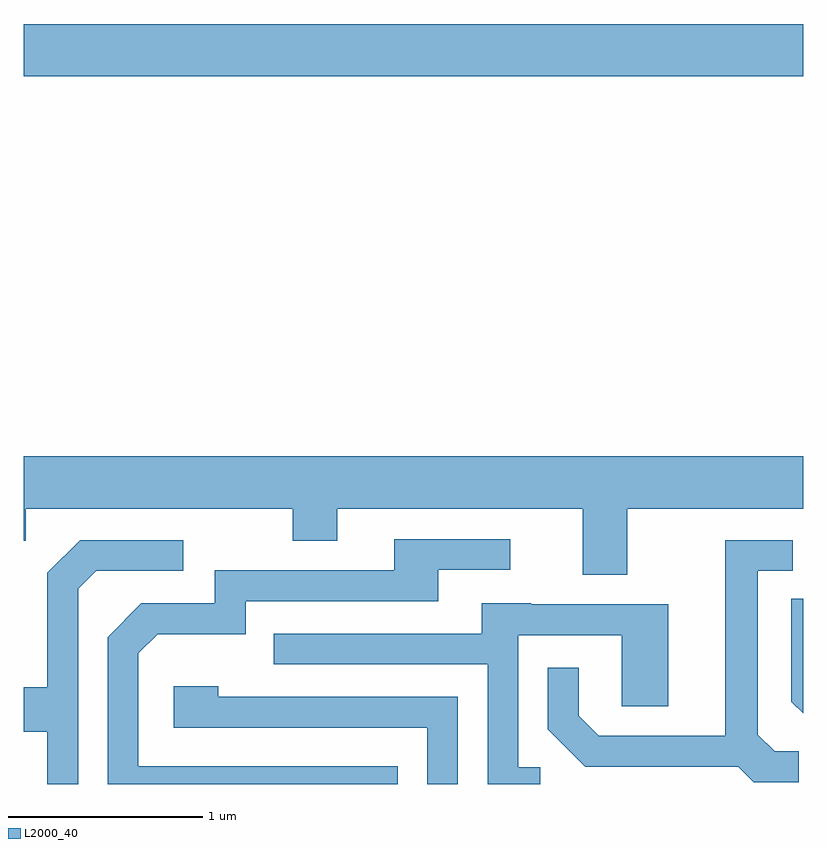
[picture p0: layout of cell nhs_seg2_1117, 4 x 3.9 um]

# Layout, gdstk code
import gdstk
lib = gdstk.Library(unit=1e-6, precision=1e-09)
def R(c, l, rs):  # rectangles x0, y0, x1, y1
    for r in rs: c.add(gdstk.rectangle(r[:2], r[2:], *l))
def P(c, l, *ps):  # polygons
    for p in ps: c.add(gdstk.Polygon(p, *l))
L2000_40 = (2000, 40)

nhs_seg2_1117 = lib.new_cell('nhs_seg2_1117')
R(nhs_seg2_1117, L2000_40, [(217.611,1039.436,221.611,1039.704)])
P(nhs_seg2_1117, L2000_40, [(220.709,1037.216),(221.611,1037.216),(221.611,1037.484),(217.611,1037.484),(217.611,1037.051),(217.619,1037.051),(217.619,1037.216),(218.991,1037.216),(218.991,1037.051),(219.219,1037.051),(219.219,1037.216),(220.481,1037.216),(220.481,1036.876),(220.709,1036.876)],
  [(219.529,1035.894),(218.199,1035.894),(218.199,1036.474),(218.297,1036.571),(218.749,1036.571),(218.749,1036.741),(219.739,1036.741),(219.739,1036.901),(220.108,1036.901),(220.108,1037.059),(219.511,1037.059),(219.511,1036.899),(218.591,1036.899),(218.591,1036.729),(218.214,1036.729),(218.041,1036.556),(218.041,1035.802),(219.529,1035.802)],
  [(221.588,1035.969),(221.467,1035.969),(221.379,1036.056),(221.379,1036.896),(221.558,1036.896),(221.558,1037.054),(221.211,1037.054),(221.211,1036.049),(220.562,1036.049),(220.459,1036.152),(220.459,1036.398),(220.301,1036.398),(220.301,1036.084),(220.494,1035.891),(221.279,1035.891),(221.359,1035.811),(221.588,1035.811)],
  [(217.889,1036.804),(217.982,1036.896),(218.428,1036.896),(218.428,1037.054),(217.899,1037.054),(217.731,1036.887),(217.731,1036.299),(217.611,1036.299),(217.611,1036.071),(217.731,1036.071),(217.731,1035.802),(217.889,1035.802)],
  [(221.611,1036.753),(221.551,1036.753),(221.551,1036.224),(221.611,1036.164)],
  [(220.263,1035.889),(220.149,1035.889),(220.149,1036.566),(220.681,1036.566),(220.681,1036.201),(220.919,1036.201),(220.919,1036.724),(220.215,1036.724),(220.215,1036.729),(219.961,1036.729),(219.961,1036.574),(218.893,1036.574),(218.893,1036.416),(219.991,1036.416),(219.991,1035.802),(220.263,1035.802)],
  [(219.839,1036.249),(218.609,1036.249),(218.609,1036.304),(218.381,1036.304),(218.381,1036.091),(219.681,1036.091),(219.681,1035.802),(219.839,1035.802)])

lib.write_gds('nhs_seg2_1117.gds')
